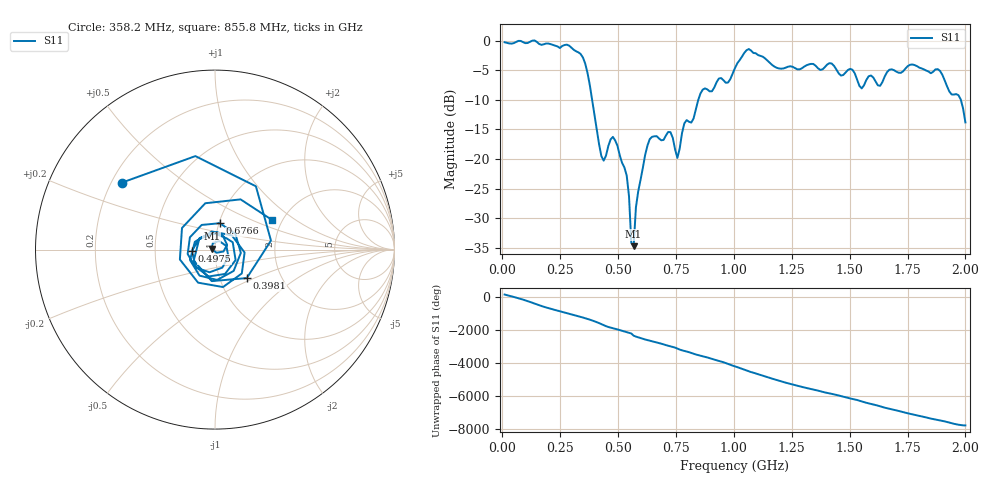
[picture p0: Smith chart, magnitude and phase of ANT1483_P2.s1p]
!Created with skrf (http://scikit-rf.org).
# Hz S RI R 50.0
!freq ReS11 ImS11
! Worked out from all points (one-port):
!   201 points, 10 MHz to 2 GHz, reference 50 ohm
!   lowest |S11| = -34.7 dB at 567.2 MHz (marker M1), VSWR 1.04, Z = 48.3 + j0.47 ohm
!   |S11| at or under -10 dB: 388.1 MHz to 846.3 MHz (458.3 MHz wide, 74.3 % of centre); 1.981 GHz to end of sweep
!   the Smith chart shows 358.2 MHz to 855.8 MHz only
!   S11 on the Smith chart (normalised r, x): 358.2 MHz: 0.24, +0.30; 398.1 MHz: 1.34, -0.45; 497.6 MHz: 0.77, -0.01; 676.6 MHz: 1.01, +0.30; 855.8 MHz: 1.77, +0.67
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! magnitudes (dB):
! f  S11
! 10 MHz  -0.3
! 258.8 MHz  -0.9
! 358.2 MHz  -3.9
! 398.1 MHz  -12.5
! 437.9 MHz  -20.3
! 477.6 MHz  -16.2
! 497.6 MHz  -17.8
! 507.5 MHz  -19.4
! 537.4 MHz  -22.8
! 547.3 MHz  -26.3
! 557.2 MHz  -34.2
! 567.2 MHz  -34.7
! 577.1 MHz  -28.2
! 617 MHz  -19.3
! 676.6 MHz  -16.5
! 726.4 MHz  -15.5
! 756.2 MHz  -19.8
! 786.1 MHz  -14.0
! 855.8 MHz  -8.9
! 1.005 GHz  -4.6
! 1.065 GHz  -1.4
! 1.254 GHz  -4.4
! 1.502 GHz  -4.7
! 1.552 GHz  -8.1
! 1.751 GHz  -4.3
! 1.891 GHz  -5.1
! 1.98 GHz  -9.9
! 2 GHz  -13.8
